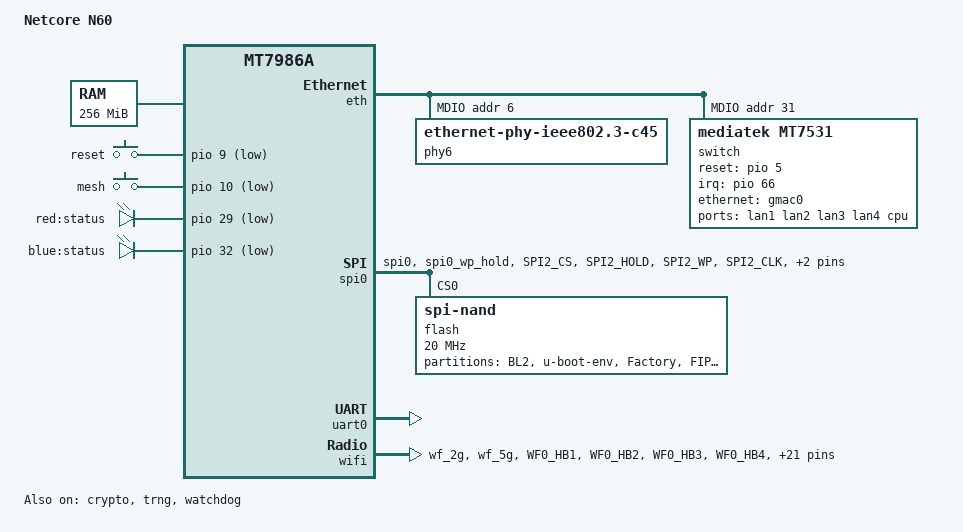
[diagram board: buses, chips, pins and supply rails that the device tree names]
// SPDX-License-Identifier: GPL-2.0-or-later OR MIT

/dts-v1/;
#include <dt-bindings/gpio/gpio.h>
#include <dt-bindings/input/input.h>

#include "mt7986a.dtsi"

/ {
	model = "Netcore N60";
	compatible = "netcore,n60", "mediatek,mt7986a";

	aliases {
		serial0 = &uart0;
		label-mac-device = &gmac0;
		led-boot = &led_status_red;
		led-failsafe = &led_status_red;
		led-running = &led_status_blue;
		led-upgrade = &led_status_blue;
	};

	chosen {
		stdout-path = "serial0:115200n8";
	};

	memory {
		reg = <0 0x40000000 0 0x10000000>;
	};

	keys {
		compatible = "gpio-keys";

		reset {
			label = "reset";
			linux,code = <KEY_RESTART>;
			gpios = <&pio 9 GPIO_ACTIVE_LOW>;
		};

		mesh {
			label = "mesh";
			linux,code = <KEY_WPS_BUTTON>;
			gpios = <&pio 10 GPIO_ACTIVE_LOW>;
		};
	};

	leds {
		compatible = "gpio-leds";

		led_status_red: status_red {
			label = "red:status";
			gpios = <&pio 29 GPIO_ACTIVE_LOW>;
		};

		led_status_blue: status_blue {
			label = "blue:status";
			gpios = <&pio 32 GPIO_ACTIVE_LOW>;
		};
	};
};

&crypto {
	status = "okay";
};

&eth {
	status = "okay";

	gmac0: mac@0 {
		compatible = "mediatek,eth-mac";
		reg = <0>;
		phy-mode = "2500base-x";

		nvmem-cells = <&macaddr_lan>;
		nvmem-cell-names = "mac-address";

		fixed-link {
			speed = <2500>;
			full-duplex;
			pause;
		};
	};

	gmac1: mac@1 {
		compatible = "mediatek,eth-mac";
		reg = <1>;
		phy-handle = <&phy6>;
		phy-mode = "2500base-x";

		nvmem-cells = <&macaddr_wan>;
		nvmem-cell-names = "mac-address";
	};

	mdio: mdio-bus {
		#address-cells = <1>;
		#size-cells = <0>;
	};
};

&mdio {
	reset-delay-us = <600>;
	reset-post-delay-us = <20000>;
	reset-gpios = <&pio 6 GPIO_ACTIVE_LOW>;

	phy6: phy@6 {
		compatible = "ethernet-phy-ieee802.3-c45";
		reg = <6>;
		mxl,led-config = <0x0 0x0 0x0 0x3f0>;
	};

	switch: switch@0 {
		compatible = "mediatek,mt7531";
		reg = <31>;
		reset-gpios = <&pio 5 GPIO_ACTIVE_HIGH>;
		interrupt-controller;
		#interrupt-cells = <1>;
		interrupt-parent = <&pio>;
		interrupts = <66 IRQ_TYPE_LEVEL_HIGH>;
	};
};

&switch {
	ports {
		#address-cells = <1>;
		#size-cells = <0>;

		port@0 {
			reg = <0>;
			label = "lan1";
		};

		port@1 {
			reg = <1>;
			label = "lan2";
		};

		port@3 {
			reg = <3>;
			label = "lan3";
		};

		port@4 {
			reg = <4>;
			label = "lan4";
		};

		port@6 {
			reg = <6>;
			label = "cpu";
			ethernet = <&gmac0>;
			phy-mode = "2500base-x";

			fixed-link {
				speed = <2500>;
				full-duplex;
				pause;
			};
		};
	};
};

&spi0 {
	pinctrl-names = "default";
	pinctrl-0 = <&spi_flash_pins>;
	status = "okay";

	flash@0 {
		compatible = "spi-nand";
		#address-cells = <1>;
		#size-cells = <1>;
		reg = <0>;

		spi-max-frequency = <20000000>;
		spi-tx-bus-width = <4>;
		spi-rx-bus-width = <4>;

		mediatek,nmbm;
		mediatek,bmt-max-ratio = <1>;
		mediatek,bmt-max-reserved-blocks = <64>;

		partitions {
			compatible = "fixed-partitions";
			#address-cells = <1>;
			#size-cells = <1>;

			partition@0 {
				label = "BL2";
				reg = <0x0000000 0x0100000>;
				read-only;
			};

			partition@100000 {
				label = "u-boot-env";
				reg = <0x0100000 0x0080000>;
			};

			factory: partition@180000 {
				label = "Factory";
				reg = <0x0180000 0x0200000>;
				read-only;
			};

			partition@380000 {
				label = "FIP";
				reg = <0x0380000 0x0200000>;
				read-only;
			};

			partition@580000 {
				label = "ubi";
				reg = <0x0580000 0x7280000>;
			};
		};
	};
};

&pio {
	spi_flash_pins: spi-flash-pins-33-to-38 {
		mux {
			function = "spi";
			groups = "spi0", "spi0_wp_hold";
		};
		conf-pu {
			pins = "SPI2_CS", "SPI2_HOLD", "SPI2_WP";
			drive-strength = <8>;
			mediatek,pull-up-adv = <0>; /* bias-disable */
		};
		conf-pd {
			pins = "SPI2_CLK", "SPI2_MOSI", "SPI2_MISO";
			drive-strength = <8>;
			mediatek,pull-down-adv = <0>; /* bias-disable */
		};
	};

	wf_2g_5g_pins: wf_2g_5g-pins {
		mux {
			function = "wifi";
			groups = "wf_2g", "wf_5g";
		};
		conf {
			pins = "WF0_HB1", "WF0_HB2", "WF0_HB3", "WF0_HB4",
			       "WF0_HB0", "WF0_HB0_B", "WF0_HB5", "WF0_HB6",
			       "WF0_HB7", "WF0_HB8", "WF0_HB9", "WF0_HB10",
			       "WF0_TOP_CLK", "WF0_TOP_DATA", "WF1_HB1",
			       "WF1_HB2", "WF1_HB3", "WF1_HB4", "WF1_HB0",
			       "WF1_HB5", "WF1_HB6", "WF1_HB7", "WF1_HB8",
			       "WF1_TOP_CLK", "WF1_TOP_DATA";
			drive-strength = <4>;
		};
	};
};

&trng {
	status = "okay";
};

&uart0 {
	status = "okay";
};

&watchdog {
	status = "okay";
};

&wifi {
	status = "okay";
	pinctrl-names = "default";
	pinctrl-0 = <&wf_2g_5g_pins>;

	mediatek,mtd-eeprom = <&factory 0x0>;
};

&factory {
	compatible = "nvmem-cells";
	#address-cells = <1>;
	#size-cells = <1>;

	macaddr_lan: macaddr@1fef20 {
		reg = <0x1fef20 0x6>;
	};

	macaddr_wan: macaddr@1fef26 {
		reg = <0x1fef26 0x6>;
	};
};
